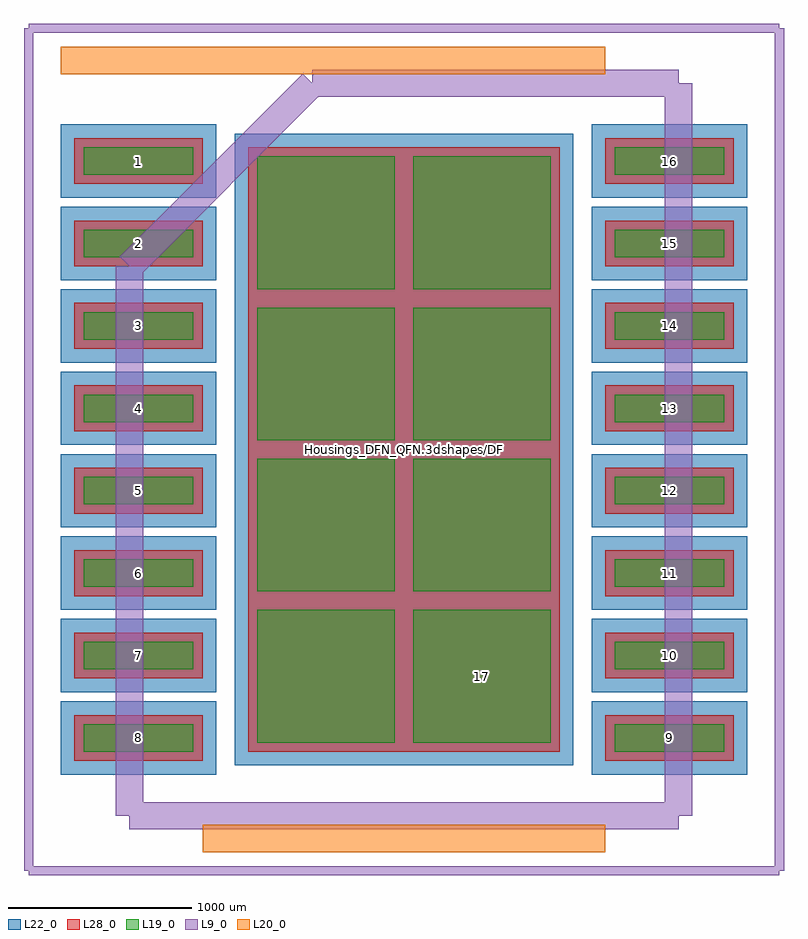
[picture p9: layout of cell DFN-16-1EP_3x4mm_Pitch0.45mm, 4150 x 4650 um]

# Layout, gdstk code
import gdstk
lib = gdstk.Library(unit=1e-6, precision=1e-09)
def R(c, l, rs):  # rectangles x0, y0, x1, y1
    for r in rs: c.add(gdstk.rectangle(r[:2], r[2:], *l))
def A(c, l, x, y, w, h, nx, ny, dx, dy):  # array of equal rectangles
    R(c, l, [(x+i*dx, y+j*dy, x+i*dx+w, y+j*dy+h) for i in range(nx) for j in range(ny)])
L9_0 = (9, 0)
L19_0 = (19, 0)
L20_0 = (20, 0)
L22_0 = (22, 0)
L28_0 = (28, 0)

dfn_16_1ep_3x4mm_pitch0_ = lib.new_cell('DFN-16-1EP_3x4mm_Pitch0.45mm')
A(dfn_16_1ep_3x4mm_pitch0_, L19_0, -1750, -1650, 600, 150, 1, 8, 0, 450)
A(dfn_16_1ep_3x4mm_pitch0_, L19_0, 1150, -1650, 600, 150, 1, 8, 0, 450)
A(dfn_16_1ep_3x4mm_pitch0_, L19_0, -800, -1600, 750, 725, 1, 4, 0, 825)
A(dfn_16_1ep_3x4mm_pitch0_, L19_0, 50, -1600, 750, 725, 1, 4, 0, 825)
A(dfn_16_1ep_3x4mm_pitch0_, L22_0, -1875, -1775, 850, 400, 1, 8, 0, 450)
A(dfn_16_1ep_3x4mm_pitch0_, L22_0, 1025, -1775, 850, 400, 1, 8, 0, 450)
A(dfn_16_1ep_3x4mm_pitch0_, L22_0, -925, -1725, 1000, 975, 1, 4, 0, 825)
A(dfn_16_1ep_3x4mm_pitch0_, L22_0, -75, -1725, 1000, 975, 1, 4, 0, 825)
A(dfn_16_1ep_3x4mm_pitch0_, L28_0, -1800, -1700, 700, 250, 1, 8, 0, 450)
A(dfn_16_1ep_3x4mm_pitch0_, L28_0, 1100, -1700, 700, 250, 1, 8, 0, 450)
A(dfn_16_1ep_3x4mm_pitch0_, L28_0, -850, -1650, 850, 825, 1, 4, 0, 825)
A(dfn_16_1ep_3x4mm_pitch0_, L28_0, 0, -1650, 850, 825, 1, 4, 0, 825)
dfn_16_1ep_3x4mm_pitch0_.add(gdstk.FlexPath([(-1875,2125),(1100,2125)], 149.998, ends="flush", simple_path=True, layer=20, datatype=0))  # L20_0
dfn_16_1ep_3x4mm_pitch0_.add(gdstk.FlexPath([(-1100,-2125),(1100,-2125)], 149.998, ends="flush", simple_path=True, layer=20, datatype=0))  # L20_0
dfn_16_1ep_3x4mm_pitch0_.add(gdstk.FlexPath([(-2050,-2300),(2050,-2300)], 50, ends="flush", simple_path=True, layer=9, datatype=0))  # L9_0
dfn_16_1ep_3x4mm_pitch0_.add(gdstk.FlexPath([(-2050,2300),(2050,2300)], 50, ends="flush", simple_path=True, layer=9, datatype=0))  # L9_0
dfn_16_1ep_3x4mm_pitch0_.add(gdstk.FlexPath([(2050,2300),(2050,-2300)], 50, ends="flush", simple_path=True, layer=9, datatype=0))  # L9_0
dfn_16_1ep_3x4mm_pitch0_.add(gdstk.FlexPath([(-2050,2300),(-2050,-2300)], 50, ends="flush", simple_path=True, layer=9, datatype=0))  # L9_0
dfn_16_1ep_3x4mm_pitch0_.add(gdstk.FlexPath([(-1500,1000),(-500,2000)], 149.998, ends="flush", simple_path=True, layer=9, datatype=0))  # L9_0
dfn_16_1ep_3x4mm_pitch0_.add(gdstk.FlexPath([(-1500,-2000),(-1500,1000)], 149.998, ends="flush", simple_path=True, layer=9, datatype=0))  # L9_0
dfn_16_1ep_3x4mm_pitch0_.add(gdstk.FlexPath([(1500,-2000),(-1500,-2000)], 149.998, ends="flush", simple_path=True, layer=9, datatype=0))  # L9_0
dfn_16_1ep_3x4mm_pitch0_.add(gdstk.FlexPath([(1500,2000),(1500,-2000)], 149.998, ends="flush", simple_path=True, layer=9, datatype=0))  # L9_0
dfn_16_1ep_3x4mm_pitch0_.add(gdstk.FlexPath([(-500,2000),(1500,2000)], 149.998, ends="flush", simple_path=True, layer=9, datatype=0))  # L9_0
dfn_16_1ep_3x4mm_pitch0_.add(gdstk.Label('Housings_DFN_QFN.3dshapes/DFN-16-1EP_3x4mm_Pitch0.45mm.wrl', (0,0), layer=12, texttype=0))
dfn_16_1ep_3x4mm_pitch0_.add(gdstk.Label('17', (425,-1237.5), layer=28, texttype=0))
dfn_16_1ep_3x4mm_pitch0_.add(gdstk.Label('16', (1450,1575), layer=28, texttype=0))
dfn_16_1ep_3x4mm_pitch0_.add(gdstk.Label('15', (1450,1125), layer=28, texttype=0))
dfn_16_1ep_3x4mm_pitch0_.add(gdstk.Label('14', (1450,675), layer=28, texttype=0))
dfn_16_1ep_3x4mm_pitch0_.add(gdstk.Label('13', (1450,225), layer=28, texttype=0))
dfn_16_1ep_3x4mm_pitch0_.add(gdstk.Label('12', (1450,-225), layer=28, texttype=0))
dfn_16_1ep_3x4mm_pitch0_.add(gdstk.Label('11', (1450,-675), layer=28, texttype=0))
dfn_16_1ep_3x4mm_pitch0_.add(gdstk.Label('10', (1450,-1125), layer=28, texttype=0))
dfn_16_1ep_3x4mm_pitch0_.add(gdstk.Label('9', (1450,-1575), layer=28, texttype=0))
dfn_16_1ep_3x4mm_pitch0_.add(gdstk.Label('8', (-1450,-1575), layer=28, texttype=0))
dfn_16_1ep_3x4mm_pitch0_.add(gdstk.Label('7', (-1450,-1125), layer=28, texttype=0))
dfn_16_1ep_3x4mm_pitch0_.add(gdstk.Label('6', (-1450,-675), layer=28, texttype=0))
dfn_16_1ep_3x4mm_pitch0_.add(gdstk.Label('5', (-1450,-225), layer=28, texttype=0))
dfn_16_1ep_3x4mm_pitch0_.add(gdstk.Label('4', (-1450,225), layer=28, texttype=0))
dfn_16_1ep_3x4mm_pitch0_.add(gdstk.Label('3', (-1450,675), layer=28, texttype=0))
dfn_16_1ep_3x4mm_pitch0_.add(gdstk.Label('2', (-1450,1125), layer=28, texttype=0))
dfn_16_1ep_3x4mm_pitch0_.add(gdstk.Label('1', (-1450,1575), layer=28, texttype=0))
dfn_16_1ep_3x4mm_pitch0_.add(gdstk.Label('type', (0,-3050), layer=9, texttype=0))
dfn_16_1ep_3x4mm_pitch0_.add(gdstk.Label('devicename', (0,3050), layer=9, texttype=0))

lib.write_gds('DFN-16-1EP_3x4mm_Pitch0.45mm.gds')
